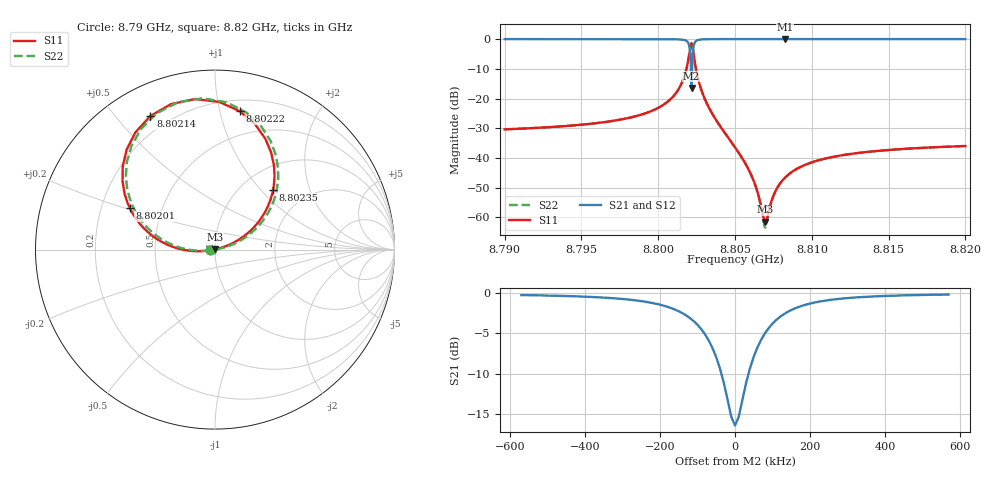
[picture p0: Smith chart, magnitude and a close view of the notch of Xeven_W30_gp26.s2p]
! Sonnet Data File
! From: emgraph Version : 16.52
! From Project: Qubit_Test_beforeopt
! Data is De-embedded
! Data File Written: 10/18/2017 20:39:12
!< HDATE 10/18/2017 18:14:34
!< MDATE 10/18/2017 18:14:34
!< PARAMS
!< Lj = 11.0
!< Gap = 26.0
!< Pwid = 2000.0
!< Airgap = 18.0
!< Width = 30.0
!< END PARAMS
# GHZ S MA R 51.80000
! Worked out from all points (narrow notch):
!   3001 points, 8.79 GHz to 8.82 GHz, reference 51.8 ohm
!   highest |S21| = 0.00 dB at 8.80826 GHz (marker M1); lowest = -16.4 dB at 8.80217 GHz (marker M2)
!   notch at M2: 16.4 dB deep, 95.8 kHz wide at half that depth
!   lowest |S11| = -61.4 dB at 8.80697 GHz (marker M3), VSWR 1.00, Z = 51.8 + j0.0857 ohm
!   |S11| at or under -10 dB: start of sweep to 8.801842 GHz; 8.802457 GHz to end of sweep
!   |S22| runs from -63.4 to -1.4 dB; largest |S21 - S12| = 0
!   S11 on the Smith chart (normalised r, x): 8.79 GHz: 0.94, -0.01; 8.80201 GHz: 0.32, +0.21; 8.80214 GHz: 0.13, +0.62; 8.80222 GHz: 0.29, +1.15; 8.80235 GHz: 1.38, +1.17; 8.82 GHz: 0.97, -0.00
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8.79  0.03033 -171.0  0.9995 -80.9  0.9995 -80.9  0.03033 -170.9
!< P1 F=8.79 Eeff=(6.44477581 -3.0301e-5) Z0=(50.6167814 1.12757e-4) R=0.0 C=0.0
!< P2 F=8.79 Eeff=(6.44477581 -3.0301e-5) Z0=(50.6167814 1.12757e-4) R=0.0 C=0.0
8.795  0.0363 -171.2  0.9993 -81.3  0.9993 -81.3  0.0363 -171.6
8.79805  0.04705 -171.6  0.9988 -82.0  0.9988 -82.0  0.04705 -172.6
8.8  0.06969 -172.8  0.9972 -83.3  0.9972 -83.3  0.06968 -174.4
8.80134  0.1456 -177.6  0.9866 -87.7  0.9866 -87.7  0.1455 -179.8
8.80181  0.2934 172.2  0.9421 -96.3  0.9421 -96.3  0.2933 169.7
8.80201  0.5298 153.9  0.7912 -111.1  0.7912 -111.1  0.5297 151.2
8.80214  0.8266 115.8  0.2781 -124.2  0.2781 -124.2  0.8264 113.1
8.80217  0.8493 102.2  0.1508 -79.8  0.1508 -79.8  0.8491 99.4
8.80222  0.7839 79.9  0.4037 -32.1  0.4037 -32.1  0.7837 77.1
8.80235  0.4653 45.9  0.837 -51.7  0.837 -51.7  0.4652 42.9
8.80245  0.3239 35.1  0.9237 -60.5  0.9237 -60.5  0.3238 32.1
8.80258  0.2243 28.1  0.9635 -66.3  0.9635 -66.3  0.2243 24.9
8.80313  0.08654 18.9  0.9942 -74.3  0.9942 -74.3  0.0865 15.2
8.805  0.01517 16.7  0.9996 -78.5  0.9996 -78.5  0.01515 8.2
8.80619  0.004308 24.1  0.9999 -79.1  0.9999 -79.1  0.004265 0.9
8.80697  0.0008473 102.4  0.9999 -79.3  0.9999 -79.3  0.0006747 -81.1
8.80757  0.00256 173.0  0.9999 -79.5  0.9999 -79.5  0.002519 -154.9
8.80826  0.004685 -178.2  0.9999 -79.6  0.9999 -79.6  0.004668 -162.3
8.81  0.008463 -173.8  0.9999 -79.8  0.9999 -79.8  0.008457 -166.3
8.815  0.01365 -172.0  0.9999 -80.2  0.9999 -80.2  0.01365 -168.4
8.82  0.01593 -171.7  0.9999 -80.4  0.9999 -80.4  0.01593 -169.0
